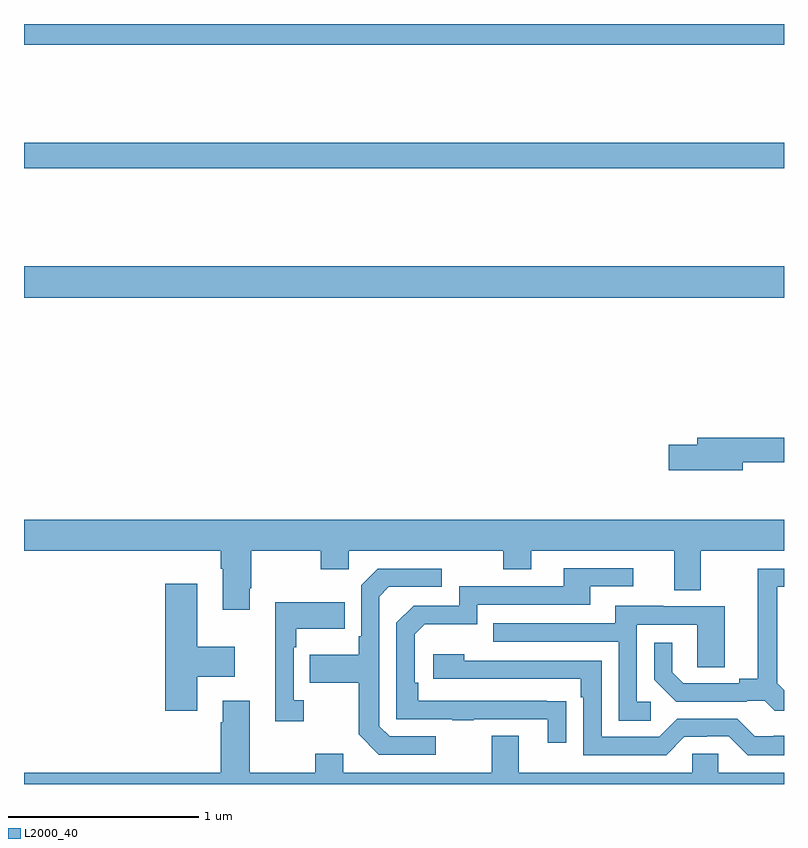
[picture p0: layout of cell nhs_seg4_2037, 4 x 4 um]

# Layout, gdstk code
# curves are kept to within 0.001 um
import gdstk
lib = gdstk.Library(unit=1e-6, precision=1e-09)
def R(c, l, rs):  # rectangles x0, y0, x1, y1
    for r in rs: c.add(gdstk.rectangle(r[:2], r[2:], *l))
def P(c, l, *ps):  # polygons
    for p in ps: c.add(gdstk.Polygon(p, *l))
L2000_40 = (2000, 40)

nhs_seg4_2037 = lib.new_cell('nhs_seg4_2037')
R(nhs_seg4_2037, L2000_40, [(215,823.46,219,823.624), (215,824.14,219,824.276), (215,824.792,219,824.9)])
P(nhs_seg4_2037, L2000_40, [(218.782,822.594),(219,822.594),(219,822.722),(218.543,822.722),(218.543,822.686),(218.394,822.686),(218.394,822.551),(218.782,822.551)],
  [(216.187,821.929),(216.195,821.929),(216.195,822.128),(216.562,822.128),(216.562,822.029),(216.708,822.029),(216.708,822.128),(217.522,822.128),(217.522,822.029),(217.669,822.029),(217.669,822.128),(218.423,822.128),(218.423,821.92),(218.563,821.92),(218.563,822.128),(219,822.128),(219,822.292),(215,822.292),(215,822.128),(216.035,822.128),(216.035,822.032),(216.047,822.032),(216.047,821.817),(216.187,821.817)],
  [(217.853,821.336),(217.076,821.337),(217.076,821.434),(217.056,821.434),(217.056,821.688),(217.109,821.741),(217.386,821.741),(217.386,821.844),(217.981,821.844),(217.981,821.94),(218.206,821.94),(218.206,822.036),(217.841,822.036),(217.841,821.94),(217.29,821.94),(217.29,821.838),(217.05,821.838),(216.96,821.748),(216.96,821.241),(217.255,821.241),(217.255,821.236),(217.367,821.236),(217.367,821.241),(217.757,821.241),(217.757,821.118),(217.853,821.118)],
  [(219,821.394),(218.965,821.429),(218.965,821.937),(219,821.937),(219,822.033),(218.861,822.033),(218.861,821.453),(218.765,821.453),(218.765,821.43),(218.47,821.43),(218.413,821.487),(218.413,821.644),(218.316,821.644),(218.316,821.45),(218.432,821.334),(218.804,821.334),(218.804,821.337),(218.898,821.337),(218.95,821.285),(219,821.285)],
  [(217.168,821.151),(216.924,821.151),(216.87,821.205),(216.87,821.886),(216.921,821.937),(217.198,821.937),(217.198,822.033),(216.861,822.033),(216.774,821.946),(216.774,821.677),(216.762,821.677),(216.762,821.581),(216.505,821.581),(216.505,821.434),(216.762,821.434),(216.762,821.161),(216.867,821.055),(217.168,821.055)],
  [(215.911,821.465),(216.109,821.465),(216.109,821.623),(215.911,821.623),(215.911,821.953),(215.744,821.953),(215.744,821.286),(215.911,821.286)],
  [(216.472,821.342),(216.42,821.342),(216.42,821.621),(216.433,821.621),(216.433,821.717),(216.689,821.717),(216.689,821.857),(216.323,821.857),(216.323,821.229),(216.472,821.229)],
  [(218.299,821.334),(218.226,821.334),(218.226,821.739),(218.544,821.739),(218.544,821.515),(218.689,821.515),(218.689,821.835),(218.365,821.835),(218.365,821.839),(218.111,821.839),(218.111,821.745),(217.471,821.745),(217.471,821.649),(218.13,821.649),(218.13,821.233),(218.299,821.233)],
  [(219,821.155),(218.947,821.155),(218.947,821.151),(218.847,821.151),(218.754,821.244),(218.439,821.244),(218.343,821.148),(218.04,821.148),(218.04,821.55),(217.316,821.55),(217.316,821.584),(217.155,821.584),(217.155,821.454),(217.931,821.454),(217.931,821.357),(217.944,821.357),(217.944,821.052),(218.379,821.052),(218.475,821.148),(218.594,821.148),(218.594,821.151),(218.709,821.151),(218.809,821.051),(219,821.051)],
  [(215,820.9),(219,820.9),(219,820.96),(218.655,820.96),(218.655,821.058),(218.517,821.058),(218.517,820.96),(217.603,820.96),(217.603,821.155),(217.463,821.155),(217.463,820.96),(216.679,820.96),(216.679,821.059),(216.532,821.059),(216.532,820.96),(216.187,820.96),(216.187,821.338),(216.047,821.338),(216.047,821.225),(216.035,821.225),(216.035,820.96),(215,820.96)])

lib.write_gds('nhs_seg4_2037.gds')
